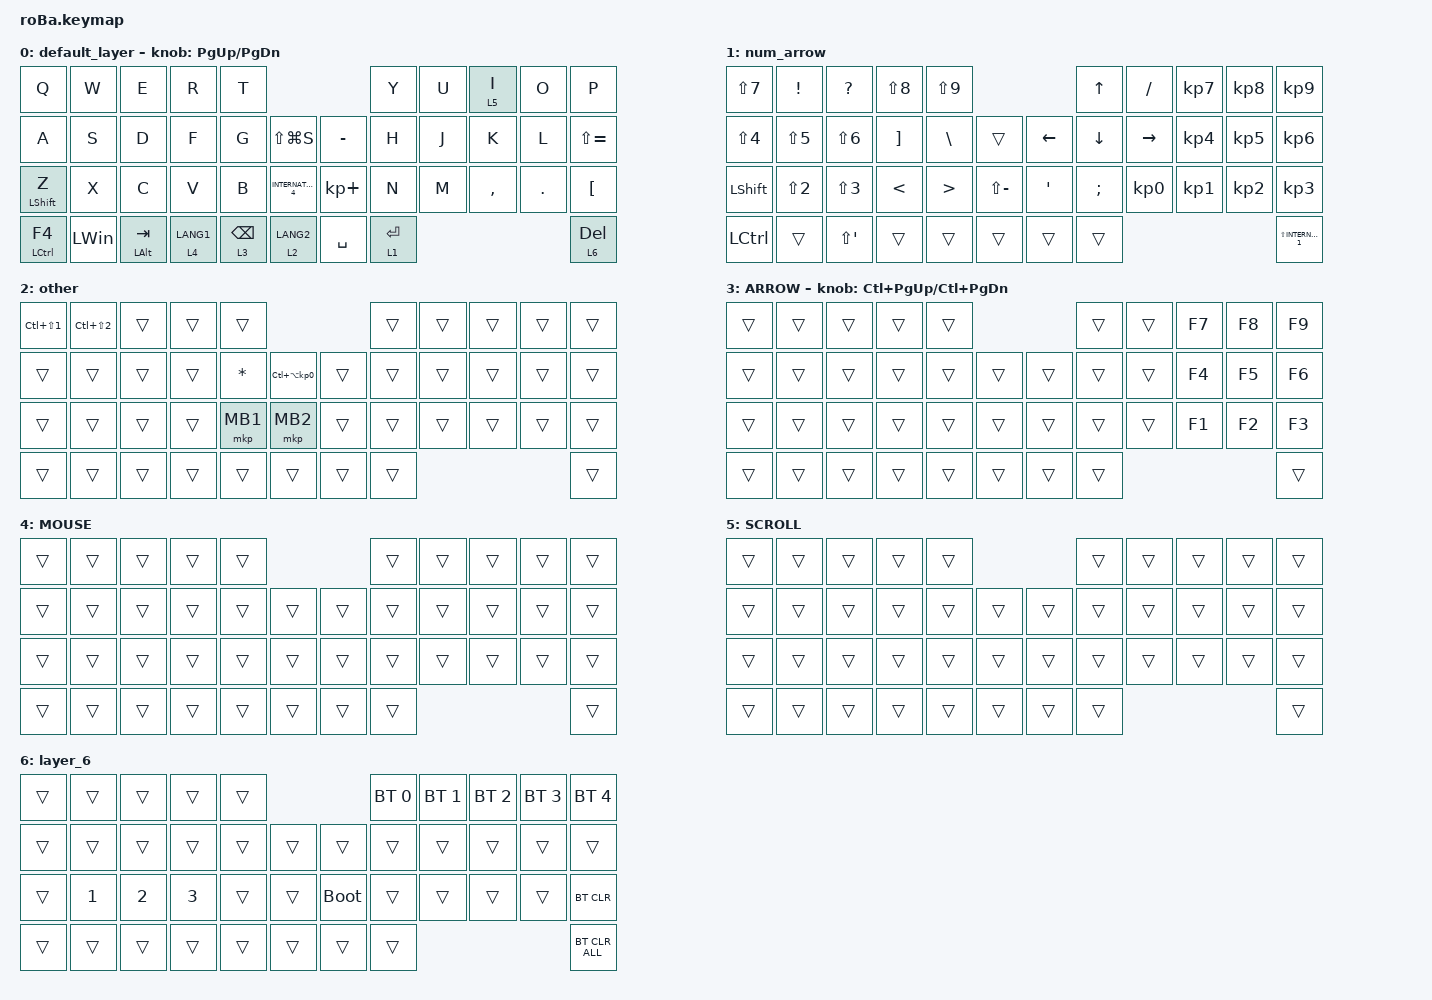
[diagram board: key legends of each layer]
#include <behaviors.dtsi>
#include <dt-bindings/zmk/bt.h>
#include <dt-bindings/zmk/keys.h>
#include <dt-bindings/zmk/pointing.h>

#define MOUSE 4
#define SCROLL 5
#define NUM 6

&mt {
    flavor = "balanced";
    quick-tap-ms = <0>;
};

/ {
    combos { compatible = "zmk,combos"; };

    macros {
        to_layer_0: to_layer_0 {
            compatible = "zmk,behavior-macro-one-param";
            #binding-cells = <1>;
            bindings = <&to 0 &macro_param_1to1 &kp MACRO_PLACEHOLDER>;
            label = "TO_LAYER_0";
        };
    };

    behaviors {
        lt_to_layer_0: lt_to_layer_0 {
            compatible = "zmk,behavior-hold-tap";
            label = "LAYER_TAP_TO_0";
            bindings = <&mo>, <&to_layer_0>;

            #binding-cells = <2>;
            tapping-term-ms = <200>;
        };
    };

    keymap {
        compatible = "zmk,keymap";

        default_layer {
            bindings = <
&kp Q             &kp W         &kp E             &kp R                   &kp T                                                     &kp Y        &kp U  &lt 5 I    &kp O    &kp P
&kp A             &kp S         &kp D             &kp F                   &kp G            &kp LS(LG(S))               &kp MINUS    &kp H        &kp J  &kp K      &kp L    &kp LS(EQUAL)
&mt LEFT_SHIFT Z  &kp X         &kp C             &kp V                   &kp B            &kp INTERNATIONAL_4         &kp KP_PLUS  &kp N        &kp M  &kp COMMA  &kp DOT  &kp LEFT_BRACKET
&mt LCTRL F4      &kp LEFT_WIN  &mt LEFT_ALT TAB  &lt_to_layer_0 4 LANG1  &lt 3 BACKSPACE  &lt_to_layer_0 2 LANG2      &kp SPACE    &lt 1 ENTER                             &lt 6 DELETE
            >;

            sensor-bindings = <&inc_dec_kp PG_UP PAGE_DOWN>;
        };

        num_arrow {
            bindings = <
&kp LS(NUMBER_7)  &kp EXCLAMATION  &kp QUESTION          &kp LS(N8)         &kp LS(N9)                                          &kp UP_ARROW    &kp FSLH         &kp KP_NUMBER_7  &kp KP_NUMBER_8  &kp KP_NUMBER_9
&kp LS(N4)        &kp LS(N5)       &kp LS(N6)            &kp RIGHT_BRACKET  &kp BACKSLASH  &trans             &kp LEFT_ARROW    &kp DOWN_ARROW  &kp RIGHT_ARROW  &kp KP_NUMBER_4  &kp KP_NUMBER_5  &kp KP_NUMBER_6
&kp LEFT_SHIFT    &kp LS(N2)       &kp LS(N3)            &kp LT             &kp GT         &kp LS(MINUS)      &kp SINGLE_QUOTE  &kp SEMICOLON   &kp KP_NUMBER_0  &kp KP_NUMBER_1  &kp KP_NUMBER_2  &kp KP_NUMBER_3
&kp LEFT_CONTROL  &trans           &kp LS(SINGLE_QUOTE)  &trans             &trans         &trans             &trans            &trans                                                             &kp LS(INTERNATIONAL_1)
            >;
        };

        other {
            bindings = <
&kp LC(LS(NUMBER_1))  &kp LC(LS(NUMBER_2))  &trans  &trans  &trans                                             &trans  &trans  &trans  &trans  &trans
&trans                &trans                &trans  &trans  &kp ASTERISK  &kp LC(LA(KP_NUMBER_0))      &trans  &trans  &trans  &trans  &trans  &trans
&trans                &trans                &trans  &trans  &mkp MB1      &mkp MB2                     &trans  &trans  &trans  &trans  &trans  &trans
&trans                &trans                &trans  &trans  &trans        &trans                       &trans  &trans                          &trans
            >;
        };

        ARROW {
            bindings = <
&trans  &trans  &trans  &trans  &trans                      &trans  &trans  &kp F7  &kp F8  &kp F9
&trans  &trans  &trans  &trans  &trans  &trans      &trans  &trans  &trans  &kp F4  &kp F5  &kp F6
&trans  &trans  &trans  &trans  &trans  &trans      &trans  &trans  &trans  &kp F1  &kp F2  &kp F3
&trans  &trans  &trans  &trans  &trans  &trans      &trans  &trans                          &trans
            >;

            sensor-bindings = <&inc_dec_kp LC(PAGE_UP) LC(PAGE_DOWN)>;
        };

        MOUSE {
            bindings = <
&trans  &trans  &trans  &trans  &trans                      &trans  &trans  &trans  &trans  &trans
&trans  &trans  &trans  &trans  &trans  &trans      &trans  &trans  &trans  &trans  &trans  &trans
&trans  &trans  &trans  &trans  &trans  &trans      &trans  &trans  &trans  &trans  &trans  &trans
&trans  &trans  &trans  &trans  &trans  &trans      &trans  &trans                          &trans
            >;
        };

        SCROLL {
            bindings = <
&trans  &trans  &trans  &trans  &trans                      &trans  &trans  &trans  &trans  &trans
&trans  &trans  &trans  &trans  &trans  &trans      &trans  &trans  &trans  &trans  &trans  &trans
&trans  &trans  &trans  &trans  &trans  &trans      &trans  &trans  &trans  &trans  &trans  &trans
&trans  &trans  &trans  &trans  &trans  &trans      &trans  &trans                          &trans
            >;
        };

        layer_6 {
            bindings = <
&trans  &trans        &trans        &trans        &trans                           &bt BT_SEL 0  &bt BT_SEL 1  &bt BT_SEL 2  &bt BT_SEL 3  &bt BT_SEL 4
&trans  &trans        &trans        &trans        &trans  &trans      &trans       &trans        &trans        &trans        &trans        &trans
&trans  &kp NUMBER_1  &kp NUMBER_2  &kp NUMBER_3  &trans  &trans      &bootloader  &trans        &trans        &trans        &trans        &bt BT_CLR
&trans  &trans        &trans        &trans        &trans  &trans      &trans       &trans                                                  &bt BT_CLR_ALL
            >;
        };
    };
};
